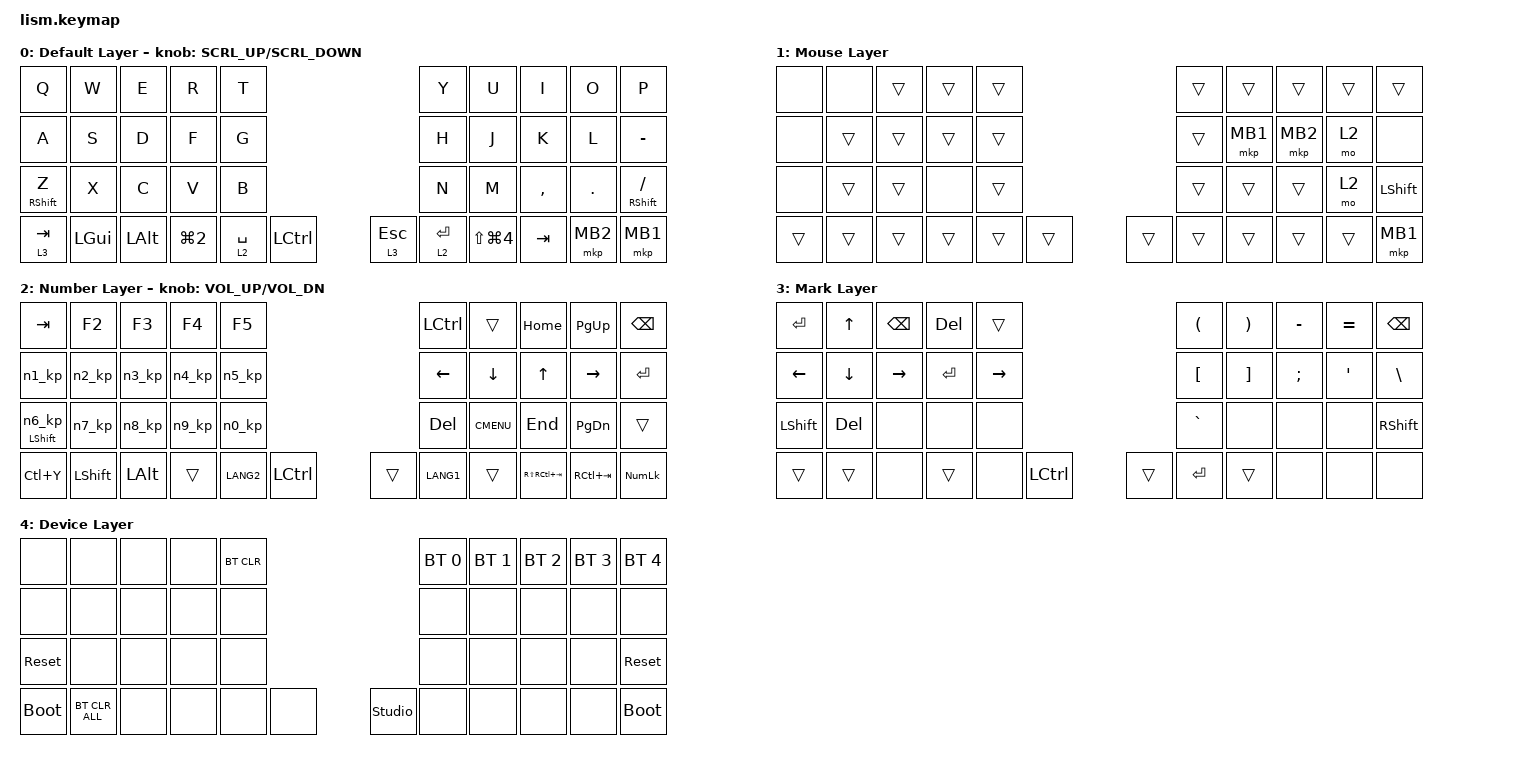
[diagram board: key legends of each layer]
#define ZMK_POINTING_DEFAULT_SCRL_VAL 200

#include <dt-bindings/zmk/mouse.h>
#include <behaviors.dtsi>
#include <dt-bindings/zmk/bt.h>
#include <dt-bindings/zmk/keys.h>
#include <dt-bindings/zmk/pointing.h>

&mt {
    tapping-term-ms = <300>;
    flavor = "balanced";
};

&lt { quick-tap-ms = <300>; };

/ {
    behaviors {
        encoder_msc: sensor_rotate_msc {
            compatible = "zmk,behavior-sensor-rotate-var";
            #sensor-binding-cells = <2>;
            bindings = <&msc>, <&msc>;

            tap-ms = <20>;
        };

        encoder_kp: sensor_rotate_kp {
            compatible = "zmk,behavior-sensor-rotate-var";
            #sensor-binding-cells = <2>;
            bindings = <&kp>, <&kp>;
        };

        n1_kp: n1_kp {
            compatible = "zmk,behavior-mod-morph";
            #binding-cells = <0>;
            bindings = <&kp KP_N1>, <&kp NUMBER_1>;

            mods = <(MOD_LSFT|MOD_RSFT|MOD_LCTL|MOD_RCTL|MOD_LALT|MOD_RALT|MOD_LGUI|MOD_RGUI)>;
            keep-mods = <(MOD_LSFT|MOD_RSFT|MOD_LCTL|MOD_RCTL|MOD_LALT|MOD_RALT|MOD_LGUI|MOD_RGUI)>;
        };

        n2_kp: n2_kp {
            compatible = "zmk,behavior-mod-morph";
            #binding-cells = <0>;
            bindings = <&kp KP_N2>, <&kp NUMBER_2>;

            mods = <(MOD_LSFT|MOD_RSFT|MOD_LCTL|MOD_RCTL|MOD_LALT|MOD_RALT|MOD_LGUI|MOD_RGUI)>;
            keep-mods = <(MOD_LSFT|MOD_RSFT|MOD_LCTL|MOD_RCTL|MOD_LALT|MOD_RALT|MOD_LGUI|MOD_RGUI)>;
        };

        n3_kp: n3_kp {
            compatible = "zmk,behavior-mod-morph";
            #binding-cells = <0>;
            bindings = <&kp KP_N3>, <&kp NUMBER_3>;

            mods = <(MOD_LSFT|MOD_RSFT|MOD_LCTL|MOD_RCTL|MOD_LALT|MOD_RALT|MOD_LGUI|MOD_RGUI)>;
            keep-mods = <(MOD_LSFT|MOD_RSFT|MOD_LCTL|MOD_RCTL|MOD_LALT|MOD_RALT|MOD_LGUI|MOD_RGUI)>;
        };

        n4_kp: n4_kp {
            compatible = "zmk,behavior-mod-morph";
            #binding-cells = <0>;
            bindings = <&kp KP_N4>, <&kp NUMBER_4>;

            mods = <(MOD_LSFT|MOD_RSFT|MOD_LCTL|MOD_RCTL|MOD_LALT|MOD_RALT|MOD_LGUI|MOD_RGUI)>;
            keep-mods = <(MOD_LSFT|MOD_RSFT|MOD_LCTL|MOD_RCTL|MOD_LALT|MOD_RALT|MOD_LGUI|MOD_RGUI)>;
        };

        n5_kp: n5_kp {
            compatible = "zmk,behavior-mod-morph";
            #binding-cells = <0>;
            bindings = <&kp KP_N5>, <&kp NUMBER_5>;

            mods = <(MOD_LSFT|MOD_RSFT|MOD_LCTL|MOD_RCTL|MOD_LALT|MOD_RALT|MOD_LGUI|MOD_RGUI)>;
            keep-mods = <(MOD_LSFT|MOD_RSFT|MOD_LCTL|MOD_RCTL|MOD_LALT|MOD_RALT|MOD_LGUI|MOD_RGUI)>;
        };

        n6_kp: n6_kp {
            compatible = "zmk,behavior-mod-morph";
            #binding-cells = <0>;
            bindings = <&kp KP_N6>, <&kp NUMBER_6>;

            mods = <(MOD_LSFT|MOD_RSFT|MOD_LCTL|MOD_RCTL|MOD_LALT|MOD_RALT|MOD_LGUI|MOD_RGUI)>;
            keep-mods = <(MOD_LSFT|MOD_RSFT|MOD_LCTL|MOD_RCTL|MOD_LALT|MOD_RALT|MOD_LGUI|MOD_RGUI)>;
        };

        n7_kp: n7_kp {
            compatible = "zmk,behavior-mod-morph";
            #binding-cells = <0>;
            bindings = <&kp KP_N7>, <&kp NUMBER_7>;

            mods = <(MOD_LSFT|MOD_RSFT|MOD_LCTL|MOD_RCTL|MOD_LALT|MOD_RALT|MOD_LGUI|MOD_RGUI)>;
            keep-mods = <(MOD_LSFT|MOD_RSFT|MOD_LCTL|MOD_RCTL|MOD_LALT|MOD_RALT|MOD_LGUI|MOD_RGUI)>;
        };

        n8_kp: n8_kp {
            compatible = "zmk,behavior-mod-morph";
            #binding-cells = <0>;
            bindings = <&kp KP_N8>, <&kp NUMBER_8>;

            mods = <(MOD_LSFT|MOD_RSFT|MOD_LCTL|MOD_RCTL|MOD_LALT|MOD_RALT|MOD_LGUI|MOD_RGUI)>;
            keep-mods = <(MOD_LSFT|MOD_RSFT|MOD_LCTL|MOD_RCTL|MOD_LALT|MOD_RALT|MOD_LGUI|MOD_RGUI)>;
        };

        n9_kp: n9_kp {
            compatible = "zmk,behavior-mod-morph";
            #binding-cells = <0>;
            bindings = <&kp KP_N9>, <&kp NUMBER_9>;

            mods = <(MOD_LSFT|MOD_RSFT|MOD_LCTL|MOD_RCTL|MOD_LALT|MOD_RALT|MOD_LGUI|MOD_RGUI)>;
            keep-mods = <(MOD_LSFT|MOD_RSFT|MOD_LCTL|MOD_RCTL|MOD_LALT|MOD_RALT|MOD_LGUI|MOD_RGUI)>;
        };

        n0_kp: n0_kp {
            compatible = "zmk,behavior-mod-morph";
            #binding-cells = <0>;
            bindings = <&kp KP_N0>, <&kp NUMBER_0>;

            mods = <(MOD_LSFT|MOD_RSFT|MOD_LCTL|MOD_RCTL|MOD_LALT|MOD_RALT|MOD_LGUI|MOD_RGUI)>;
            keep-mods = <(MOD_LSFT|MOD_RSFT|MOD_LCTL|MOD_RCTL|MOD_LALT|MOD_RALT|MOD_LGUI|MOD_RGUI)>;
        };

        mt_n6: mt_n6 {
            compatible = "zmk,behavior-hold-tap";
            #binding-cells = <2>;
            tapping-term-ms = <300>;
            flavor = "balanced";
            bindings = <&kp>, <&n6_kp>;
        };
    };

    combos {
        compatible = "zmk,combos";

        enter {
            bindings = <&kp ENTER>;
            key-positions = <18 19>;
        };

        pass {
            bindings = <&new_macro>;
            key-positions = <5 25>;
        };

        qw {
            bindings = <&mo 4>;
            key-positions = <0 1>;
        };

        passBaios {
            bindings = <&new_macro2>;
            key-positions = <9 29>;
        };
    };

    macros {
        new_macro: new_macro {
            compatible = "zmk,behavior-macro";
            #binding-cells = <0>;
            bindings = <&none &kp LS(G) &kp LS(U) &kp N2 &kp U &kp DLLR &kp LS(A) &kp I &kp N0 &kp N0 &kp N9 &kp N8 &kp N7>;
            label = "NEW_MACRO";
        };

        new_macro2: new_macro2 {
            compatible = "zmk,behavior-macro";
            #binding-cells = <0>;
            bindings = <&none &kp LS(A) &kp SEMI &kp L &kp K &kp J &kp N1 &kp N2 &kp N3 &kp N4>;
            label = "NEW_MACRO2";
        };
    };

    keymap {
        compatible = "zmk,keymap";

        default_layer {
            display-name = "Default Layer";
            bindings = <
&kp Q              &kp W         &kp E         &kp R             &kp T                                &kp Y        &kp U           &kp I      &kp O     &kp P
&kp A              &kp S         &kp D         &kp F             &kp G                                &kp H        &kp J           &kp K      &kp L     &kp MINUS
&mt RIGHT_SHIFT Z  &kp X         &kp C         &kp V             &kp B                                &kp N        &kp M           &kp COMMA  &kp DOT   &mt RIGHT_SHIFT SLASH
&lt 3 TAB          &kp LEFT_GUI  &kp LEFT_ALT  &kp LG(NUMBER_2)  &lt 2 SPACE  &kp LCTRL    &lt 3 ESC  &lt 2 ENTER  &kp LS(LG(N4))  &kp TAB    &mkp MB2  &mkp MB1
            >;

            sensor-bindings = <&encoder_msc SCRL_UP SCRL_DOWN>;
        };

        layer_1 {
            display-name = "Mouse Layer";
            bindings = <
&none   &none   &trans  &trans  &trans                    &trans  &trans    &trans    &trans  &trans
&none   &trans  &trans  &trans  &trans                    &trans  &mkp MB1  &mkp MB2  &mo 2   &none
&none   &trans  &trans  &none   &trans                    &trans  &trans    &trans    &mo 2   &kp LEFT_SHIFT
&trans  &trans  &trans  &trans  &trans  &trans    &trans  &trans  &trans    &trans    &trans  &mkp MB1
            >;
        };

        layer_2 {
            display-name = "Number Layer";
            bindings = <
&kp TAB              &kp F2          &kp F3        &kp F4  &kp F5                          &kp LCTRL       &trans          &kp HOME         &kp PAGE_UP    &kp BACKSPACE
&n1_kp               &n2_kp          &n3_kp        &n4_kp  &n5_kp                          &kp LEFT_ARROW  &kp DOWN_ARROW  &kp UP           &kp RIGHT      &kp ENTER
&mt_n6 LEFT_SHIFT 0  &n7_kp          &n8_kp        &n9_kp  &n0_kp                          &kp DEL         &kp K_CMENU     &kp END          &kp PAGE_DOWN  &trans
&kp LC(Y)            &kp LEFT_SHIFT  &kp LEFT_ALT  &trans  &kp LANG2  &kp LCTRL    &trans  &kp LANG1       &trans          &kp RS(RC(TAB))  &kp RC(TAB)    &kp KP_NUMLOCK
            >;

            sensor-bindings = <&encoder_kp C_VOL_UP C_VOL_DN>;
        };

        layer_3 {
            display-name = "Mark Layer";
            bindings = <
&kp ENTER       &kp UP_ARROW    &kp BACKSPACE    &kp DELETE  &trans                          &kp LEFT_PARENTHESIS  &kp RIGHT_PARENTHESIS  &kp MINUS      &kp EQUAL         &kp BACKSPACE
&kp LEFT_ARROW  &kp DOWN_ARROW  &kp RIGHT_ARROW  &kp ENTER   &kp RIGHT                       &kp LEFT_BRACKET      &kp RIGHT_BRACKET      &kp SEMICOLON  &kp SINGLE_QUOTE  &kp BACKSLASH
&kp LEFT_SHIFT  &kp DELETE      &none            &none       &none                           &kp GRAVE             &none                  &none          &none             &kp RIGHT_SHIFT
&trans          &trans          &none            &trans      &none      &kp LCTRL    &trans  &kp ENTER             &trans                 &none          &none             &none
            >;
        };

        layer_4 {
            display-name = "Device Layer";
            bindings = <
&none        &none           &none  &none  &bt BT_CLR                           &bt BT_SEL 0  &bt BT_SEL 1  &bt BT_SEL 2  &bt BT_SEL 3  &bt BT_SEL 4
&none        &none           &none  &none  &none                                &none         &none         &none         &none         &none
&sys_reset   &none           &none  &none  &none                                &none         &none         &none         &none         &sys_reset
&bootloader  &bt BT_CLR_ALL  &none  &none  &none       &none    &studio_unlock  &none         &none         &none         &none         &bootloader
            >;
        };

        layer_5 {
            status = "reserved";
            display-name = "Brank Layer";
            bindings = <
&trans  &trans  &trans  &trans  &trans                    &trans  &trans  &trans  &trans  &trans
&trans  &trans  &trans  &trans  &trans                    &trans  &trans  &trans  &trans  &trans
&trans  &trans  &trans  &trans  &trans                    &trans  &trans  &trans  &trans  &trans
&trans  &trans  &trans  &trans  &trans  &trans    &trans  &trans  &trans  &trans  &trans  &trans
            >;
        };

        layer_6 {
            status = "reserved";
            display-name = "Brank Layer";
            bindings = <
&trans  &trans  &trans  &trans  &trans                    &trans  &trans  &trans  &trans  &trans
&trans  &trans  &trans  &trans  &trans                    &trans  &trans  &trans  &trans  &trans
&trans  &trans  &trans  &trans  &trans                    &trans  &trans  &trans  &trans  &trans
&trans  &trans  &trans  &trans  &trans  &trans    &trans  &trans  &trans  &trans  &trans  &trans
            >;
        };

        layer_7 {
            status = "reserved";
            display-name = "Brank Layer";
            bindings = <
&trans  &trans  &trans  &trans  &trans                    &trans  &trans  &trans  &trans  &trans
&trans  &trans  &trans  &trans  &trans                    &trans  &trans  &trans  &trans  &trans
&trans  &trans  &trans  &trans  &trans                    &trans  &trans  &trans  &trans  &trans
&trans  &trans  &trans  &trans  &trans  &trans    &trans  &trans  &trans  &trans  &trans  &trans
            >;
        };
    };
};
